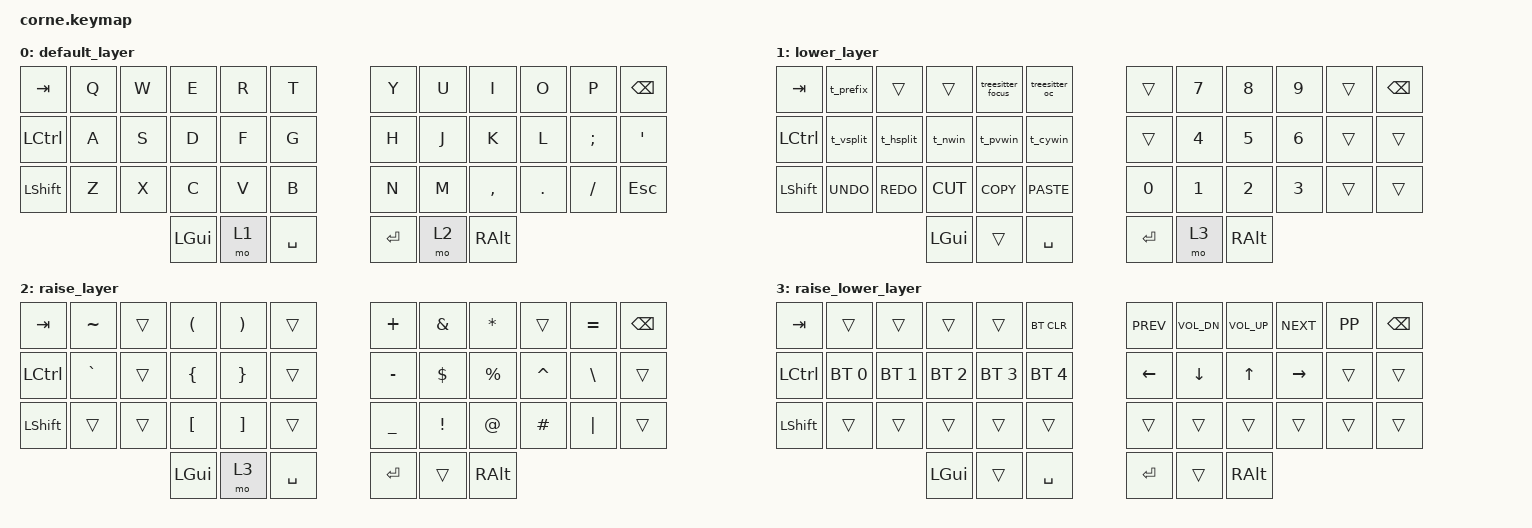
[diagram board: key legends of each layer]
/*
 * Copyright (c) 2020 The ZMK Contributors
 *
 * SPDX-License-Identifier: MIT
 */

#include <behaviors.dtsi>
#include <dt-bindings/zmk/bt.h>
#include <dt-bindings/zmk/keys.h>

/ {
    macros {
        t_prefix: tmux_prefix {
            compatible = "zmk,behavior-macro";
            #binding-cells = <0>;
            bindings = <&kp LC(SPACE)>;
            label = "TMUX_PREFIX";
        };

        t_nwin: t_nwin {
            compatible = "zmk,behavior-macro";
            #binding-cells = <0>;
            bindings = <&t_prefix &kp C>;
            label = "T_NWIN";
        };

        t_cywin: t_cywin {
            compatible = "zmk,behavior-macro";
            #binding-cells = <0>;
            bindings = <&t_prefix &kp N>;
            label = "T_CYWIN";
        };

        t_vsplit: t_vsplit {
            compatible = "zmk,behavior-macro";
            #binding-cells = <0>;
            bindings = <&t_prefix &kp PERCENT>;
            label = "T_VSPLIT";
        };

        t_hsplit: v_hsplit {
            compatible = "zmk,behavior-macro";
            #binding-cells = <0>;
            bindings = <&t_prefix &kp DOUBLE_QUOTES>;
            label = "V_HSPLIT";
        };

        t_pvwin: t_pvwin {
            compatible = "zmk,behavior-macro";
            #binding-cells = <0>;
            bindings = <&t_prefix &kp P>;
            label = "T_PVWIN";
        };

        treesitter_oc: treesitter_oc {
            compatible = "zmk,behavior-macro";
            #binding-cells = <0>;
            bindings = <&kp LC(N)>;
            label = "TREESITTER_OC";
        };

        treesitter_focus: treesitter_focus {
            compatible = "zmk,behavior-macro";
            #binding-cells = <0>;
            bindings = <&kp LC(H)>;
            label = "TREESITTER_FOCUS";
        };
    };

    keymap {
        compatible = "zmk,keymap";

        default_layer {
            // -----------------------------------------------------------------------------------------
            // |  TAB |  Q  |  W  |  E  |  R  |  T  |   |  Y  |  U   |  I  |  O  |  P  | BKSP |
            // | CTRL |  A  |  S  |  D  |  F  |  G  |   |  H  |  J   |  K  |  L  |  ;  |  '   |
            // | SHFT |  Z  |  X  |  C  |  V  |  B  |   |  N  |  M   |  ,  |  .  |  /  | ESC  |
            //                    | GUI | LWR | SPC |   | ENT | RSE  | ALT |

            bindings = <
&kp TAB    &kp Q  &kp W  &kp E     &kp R  &kp T        &kp Y    &kp U  &kp I      &kp O    &kp P     &kp BSPC
&kp LCTRL  &kp A  &kp S  &kp D     &kp F  &kp G        &kp H    &kp J  &kp K      &kp L    &kp SEMI  &kp SQT
&kp LSHFT  &kp Z  &kp X  &kp C     &kp V  &kp B        &kp N    &kp M  &kp COMMA  &kp DOT  &kp FSLH  &kp ESC
                         &kp LGUI  &mo 1  &kp SPACE    &kp RET  &mo 2  &kp RALT
            >;
        };

        lower_layer {
            // -----------------------------------------------------------------------------------------
            // |  TAB | TMUX|     |     |     |     |   |     |  1  |  2  |  3  |     | BKSP |
            // | CTRL |VSPLT|HSPLT| NWIN|PVWIN|CYWIN|   |     |  4  |  5  |  6  |     |      |
            // | SHFT | UNDO| REDO| CUT | CPY | PST |   |     |  7  |  8  |  9  |  0  |      |
            //                    | GUI |     | SPC |   | ENT |     | ALT |

            bindings = <
&kp TAB    &t_prefix   &trans      &trans     &treesitter_focus  &treesitter_oc    &trans   &kp N7  &kp N8    &kp N9  &trans  &kp BSPC
&kp LCTRL  &t_vsplit   &t_hsplit   &t_nwin    &t_pvwin           &t_cywin          &trans   &kp N4  &kp N5    &kp N6  &trans  &trans
&kp LSHFT  &kp K_UNDO  &kp K_REDO  &kp K_CUT  &kp K_COPY         &kp K_PASTE       &kp N0   &kp N1  &kp N2    &kp N3  &trans  &trans
                                   &kp LGUI   &trans             &kp SPACE         &kp RET  &mo 3   &kp RALT
            >;
        };

        raise_layer {
            // -----------------------------------------------------------------------------------------
            // |  TAB |  ~  |     |  (  |  )  |  =  |   |  +  |  !  |  @  |  #  |     | BKSP |
            // | CTRL |  `  |     |  {  |  }  |  \  |   |  -  |  $  |  %  |  ^  |     |      |
            // | SHFT |     |     |  [  |  ]  | "|" |   |  _  |  &  |  *  |     |     |      |
            //                    | GUI |     | SPC |   | ENT |     | ALT |

            bindings = <
&kp TAB    &kp TILDE  &trans  &kp LPAR  &kp RPAR  &trans       &kp PLUS   &kp AMPS  &kp STAR   &trans     &kp EQUAL      &kp BSPC
&kp LCTRL  &kp GRAVE  &trans  &kp LBRC  &kp RBRC  &trans       &kp MINUS  &kp DLLR  &kp PRCNT  &kp CARET  &kp BACKSLASH  &trans
&kp LSHFT  &trans     &trans  &kp LBKT  &kp RBKT  &trans       &kp UNDER  &kp EXCL  &kp AT     &kp HASH   &kp PIPE       &trans
                              &kp LGUI  &mo 3     &kp SPACE    &kp RET    &trans    &kp RALT
            >;
        };

        raise_lower_layer {
            // -----------------------------------------------------------------------------------------
            // |  TAB |     |     |     |     |BTCLR|   | PREV| VOL- | VOL+| NEXT| PLAY| BKSP |
            // | CTRL | BT1 | BT2 | BT3 | BT4 | BT5 |   | LFT | DWN  |  UP | RGT |     |      |
            // | SHFT |     |     |     |     |     |   |     |      |     |     |     |      |
            //                    | GUI |     | SPC |   | ENT |      | ALT |

            bindings = <
&kp TAB    &trans        &trans        &trans        &trans        &bt BT_CLR      &kp K_PREV  &kp K_VOL_DN  &kp K_VOL_UP  &kp K_NEXT  &kp K_PP  &kp BSPC
&kp LCTRL  &bt BT_SEL 0  &bt BT_SEL 1  &bt BT_SEL 2  &bt BT_SEL 3  &bt BT_SEL 4    &kp LEFT    &kp DOWN      &kp UP        &kp RIGHT   &trans    &trans
&kp LSHFT  &trans        &trans        &trans        &trans        &trans          &trans      &trans        &trans        &trans      &trans    &trans
                                       &kp LGUI      &trans        &kp SPACE       &kp RET     &trans        &kp RALT
            >;
        };
    };
};
